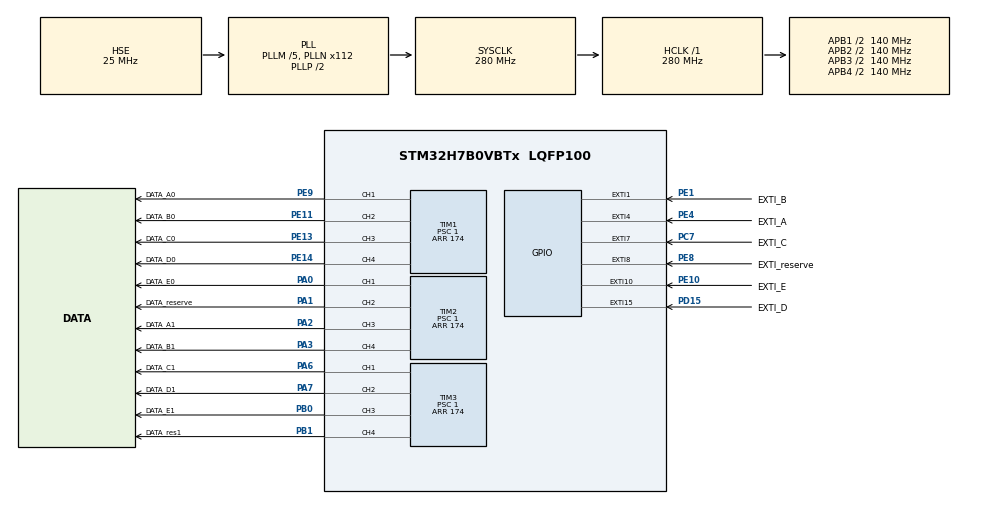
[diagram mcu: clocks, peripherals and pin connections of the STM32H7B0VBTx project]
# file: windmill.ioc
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Dma.Request0=TIM1_CH1
Dma.Request1=TIM1_CH2
Dma.Request10=TIM3_CH3
Dma.Request11=TIM3_CH4
Dma.Request2=TIM1_CH3
Dma.Request3=TIM1_CH4
Dma.Request4=TIM2_CH1
Dma.Request5=TIM2_CH2
Dma.Request6=TIM2_CH3
Dma.Request7=TIM2_CH4
Dma.Request8=TIM3_CH1
Dma.Request9=TIM3_CH2
Dma.TIM1_CH1.0.Direction=DMA_MEMORY_TO_PERIPH
Dma.TIM1_CH1.0.EventEnable=DISABLE
Dma.TIM1_CH1.0.FIFOMode=DMA_FIFOMODE_DISABLE
Dma.TIM1_CH1.0.Instance=DMA1_Stream0
Dma.TIM1_CH1.0.MemDataAlignment=DMA_MDATAALIGN_HALFWORD
Dma.TIM1_CH1.0.MemInc=DMA_MINC_ENABLE
Dma.TIM1_CH1.0.Mode=DMA_NORMAL
Dma.TIM1_CH1.0.PeriphDataAlignment=DMA_PDATAALIGN_HALFWORD
Dma.TIM1_CH1.0.PeriphInc=DMA_PINC_DISABLE
Dma.TIM1_CH1.0.Polarity=HAL_DMAMUX_REQ_GEN_RISING
Dma.TIM1_CH1.0.Priority=DMA_PRIORITY_LOW
Dma.TIM1_CH1.0.RequestNumber=1
Dma.TIM1_CH1.0.SignalID=NONE
Dma.TIM1_CH1.0.SyncEnable=DISABLE
Dma.TIM1_CH1.0.SyncPolarity=HAL_DMAMUX_SYNC_NO_EVENT
Dma.TIM1_CH1.0.SyncRequestNumber=1
Dma.TIM1_CH1.0.SyncSignalID=NONE
Dma.TIM1_CH2.1.Direction=DMA_MEMORY_TO_PERIPH
Dma.TIM1_CH2.1.EventEnable=DISABLE
Dma.TIM1_CH2.1.FIFOMode=DMA_FIFOMODE_DISABLE
Dma.TIM1_CH2.1.Instance=DMA1_Stream1
Dma.TIM1_CH2.1.MemDataAlignment=DMA_MDATAALIGN_HALFWORD
Dma.TIM1_CH2.1.MemInc=DMA_MINC_ENABLE
Dma.TIM1_CH2.1.Mode=DMA_NORMAL
Dma.TIM1_CH2.1.PeriphDataAlignment=DMA_PDATAALIGN_HALFWORD
Dma.TIM1_CH2.1.PeriphInc=DMA_PINC_DISABLE
Dma.TIM1_CH2.1.Polarity=HAL_DMAMUX_REQ_GEN_RISING
Dma.TIM1_CH2.1.Priority=DMA_PRIORITY_LOW
Dma.TIM1_CH2.1.RequestNumber=1
Dma.TIM1_CH2.1.SignalID=NONE
Dma.TIM1_CH2.1.SyncEnable=DISABLE
Dma.TIM1_CH2.1.SyncPolarity=HAL_DMAMUX_SYNC_NO_EVENT
Dma.TIM1_CH2.1.SyncRequestNumber=1
Dma.TIM1_CH2.1.SyncSignalID=NONE
Dma.TIM1_CH3.2.Direction=DMA_MEMORY_TO_PERIPH
Dma.TIM1_CH3.2.EventEnable=DISABLE
Dma.TIM1_CH3.2.FIFOMode=DMA_FIFOMODE_DISABLE
Dma.TIM1_CH3.2.Instance=DMA1_Stream2
Dma.TIM1_CH3.2.MemDataAlignment=DMA_MDATAALIGN_HALFWORD
Dma.TIM1_CH3.2.MemInc=DMA_MINC_ENABLE
Dma.TIM1_CH3.2.Mode=DMA_NORMAL
Dma.TIM1_CH3.2.PeriphDataAlignment=DMA_PDATAALIGN_HALFWORD
Dma.TIM1_CH3.2.PeriphInc=DMA_PINC_DISABLE
Dma.TIM1_CH3.2.Polarity=HAL_DMAMUX_REQ_GEN_RISING
Dma.TIM1_CH3.2.Priority=DMA_PRIORITY_LOW
Dma.TIM1_CH3.2.RequestNumber=1
Dma.TIM1_CH3.2.SignalID=NONE
Dma.TIM1_CH3.2.SyncEnable=DISABLE
Dma.TIM1_CH3.2.SyncPolarity=HAL_DMAMUX_SYNC_NO_EVENT
Dma.TIM1_CH3.2.SyncRequestNumber=1
Dma.TIM1_CH3.2.SyncSignalID=NONE
Dma.TIM1_CH4.3.Direction=DMA_MEMORY_TO_PERIPH
Dma.TIM1_CH4.3.EventEnable=DISABLE
Dma.TIM1_CH4.3.FIFOMode=DMA_FIFOMODE_DISABLE
Dma.TIM1_CH4.3.Instance=DMA1_Stream3
Dma.TIM1_CH4.3.MemDataAlignment=DMA_MDATAALIGN_HALFWORD
Dma.TIM1_CH4.3.MemInc=DMA_MINC_ENABLE
Dma.TIM1_CH4.3.Mode=DMA_NORMAL
Dma.TIM1_CH4.3.PeriphDataAlignment=DMA_PDATAALIGN_HALFWORD
Dma.TIM1_CH4.3.PeriphInc=DMA_PINC_DISABLE
Dma.TIM1_CH4.3.Polarity=HAL_DMAMUX_REQ_GEN_RISING
Dma.TIM1_CH4.3.Priority=DMA_PRIORITY_LOW
Dma.TIM1_CH4.3.RequestNumber=1
Dma.TIM1_CH4.3.SignalID=NONE
Dma.TIM1_CH4.3.SyncEnable=DISABLE
Dma.TIM1_CH4.3.SyncPolarity=HAL_DMAMUX_SYNC_NO_EVENT
Dma.TIM1_CH4.3.SyncRequestNumber=1
Dma.TIM1_CH4.3.SyncSignalID=NONE
Dma.TIM2_CH1.4.Direction=DMA_MEMORY_TO_PERIPH
Dma.TIM2_CH1.4.EventEnable=DISABLE
Dma.TIM2_CH1.4.FIFOMode=DMA_FIFOMODE_DISABLE
Dma.TIM2_CH1.4.Instance=DMA2_Stream4
Dma.TIM2_CH1.4.MemDataAlignment=DMA_MDATAALIGN_HALFWORD
Dma.TIM2_CH1.4.MemInc=DMA_MINC_ENABLE
Dma.TIM2_CH1.4.Mode=DMA_NORMAL
Dma.TIM2_CH1.4.PeriphDataAlignment=DMA_PDATAALIGN_HALFWORD
Dma.TIM2_CH1.4.PeriphInc=DMA_PINC_DISABLE
Dma.TIM2_CH1.4.Polarity=HAL_DMAMUX_REQ_GEN_RISING
Dma.TIM2_CH1.4.Priority=DMA_PRIORITY_LOW
Dma.TIM2_CH1.4.RequestNumber=1
Dma.TIM2_CH1.4.SignalID=NONE
Dma.TIM2_CH1.4.SyncEnable=DISABLE
Dma.TIM2_CH1.4.SyncPolarity=HAL_DMAMUX_SYNC_NO_EVENT
Dma.TIM2_CH1.4.SyncRequestNumber=1
Dma.TIM2_CH1.4.SyncSignalID=NONE
Dma.TIM2_CH2.5.Direction=DMA_MEMORY_TO_PERIPH
Dma.TIM2_CH2.5.EventEnable=DISABLE
Dma.TIM2_CH2.5.FIFOMode=DMA_FIFOMODE_DISABLE
Dma.TIM2_CH2.5.Instance=DMA2_Stream5
Dma.TIM2_CH2.5.MemDataAlignment=DMA_MDATAALIGN_HALFWORD
Dma.TIM2_CH2.5.MemInc=DMA_MINC_ENABLE
Dma.TIM2_CH2.5.Mode=DMA_NORMAL
Dma.TIM2_CH2.5.PeriphDataAlignment=DMA_PDATAALIGN_HALFWORD
Dma.TIM2_CH2.5.PeriphInc=DMA_PINC_DISABLE
Dma.TIM2_CH2.5.Polarity=HAL_DMAMUX_REQ_GEN_RISING
Dma.TIM2_CH2.5.Priority=DMA_PRIORITY_LOW
Dma.TIM2_CH2.5.RequestNumber=1
Dma.TIM2_CH2.5.SignalID=NONE
Dma.TIM2_CH2.5.SyncEnable=DISABLE
Dma.TIM2_CH2.5.SyncPolarity=HAL_DMAMUX_SYNC_NO_EVENT
Dma.TIM2_CH2.5.SyncRequestNumber=1
Dma.TIM2_CH2.5.SyncSignalID=NONE
Dma.TIM2_CH3.6.Direction=DMA_MEMORY_TO_PERIPH
Dma.TIM2_CH3.6.EventEnable=DISABLE
Dma.TIM2_CH3.6.FIFOMode=DMA_FIFOMODE_DISABLE
Dma.TIM2_CH3.6.Instance=DMA2_Stream6
Dma.TIM2_CH3.6.MemDataAlignment=DMA_MDATAALIGN_HALFWORD
Dma.TIM2_CH3.6.MemInc=DMA_MINC_ENABLE
Dma.TIM2_CH3.6.Mode=DMA_NORMAL
Dma.TIM2_CH3.6.PeriphDataAlignment=DMA_PDATAALIGN_HALFWORD
Dma.TIM2_CH3.6.PeriphInc=DMA_PINC_DISABLE
Dma.TIM2_CH3.6.Polarity=HAL_DMAMUX_REQ_GEN_RISING
Dma.TIM2_CH3.6.Priority=DMA_PRIORITY_LOW
Dma.TIM2_CH3.6.RequestNumber=1
Dma.TIM2_CH3.6.SignalID=NONE
Dma.TIM2_CH3.6.SyncEnable=DISABLE
Dma.TIM2_CH3.6.SyncPolarity=HAL_DMAMUX_SYNC_NO_EVENT
Dma.TIM2_CH3.6.SyncRequestNumber=1
Dma.TIM2_CH3.6.SyncSignalID=NONE
Dma.TIM2_CH4.7.Direction=DMA_MEMORY_TO_PERIPH
Dma.TIM2_CH4.7.EventEnable=DISABLE
Dma.TIM2_CH4.7.FIFOMode=DMA_FIFOMODE_DISABLE
Dma.TIM2_CH4.7.Instance=DMA2_Stream7
Dma.TIM2_CH4.7.MemDataAlignment=DMA_MDATAALIGN_HALFWORD
Dma.TIM2_CH4.7.MemInc=DMA_MINC_ENABLE
Dma.TIM2_CH4.7.Mode=DMA_NORMAL
Dma.TIM2_CH4.7.PeriphDataAlignment=DMA_PDATAALIGN_HALFWORD
Dma.TIM2_CH4.7.PeriphInc=DMA_PINC_DISABLE
Dma.TIM2_CH4.7.Polarity=HAL_DMAMUX_REQ_GEN_RISING
Dma.TIM2_CH4.7.Priority=DMA_PRIORITY_LOW
Dma.TIM2_CH4.7.RequestNumber=1
Dma.TIM2_CH4.7.SignalID=NONE
Dma.TIM2_CH4.7.SyncEnable=DISABLE
Dma.TIM2_CH4.7.SyncPolarity=HAL_DMAMUX_SYNC_NO_EVENT
Dma.TIM2_CH4.7.SyncRequestNumber=1
Dma.TIM2_CH4.7.SyncSignalID=NONE
Dma.TIM3_CH1.8.Direction=DMA_MEMORY_TO_PERIPH
Dma.TIM3_CH1.8.EventEnable=DISABLE
Dma.TIM3_CH1.8.FIFOMode=DMA_FIFOMODE_DISABLE
Dma.TIM3_CH1.8.Instance=DMA2_Stream0
Dma.TIM3_CH1.8.MemDataAlignment=DMA_MDATAALIGN_HALFWORD
Dma.TIM3_CH1.8.MemInc=DMA_MINC_ENABLE
Dma.TIM3_CH1.8.Mode=DMA_NORMAL
Dma.TIM3_CH1.8.PeriphDataAlignment=DMA_PDATAALIGN_HALFWORD
Dma.TIM3_CH1.8.PeriphInc=DMA_PINC_DISABLE
Dma.TIM3_CH1.8.Polarity=HAL_DMAMUX_REQ_GEN_RISING
Dma.TIM3_CH1.8.Priority=DMA_PRIORITY_LOW
Dma.TIM3_CH1.8.RequestNumber=1
Dma.TIM3_CH1.8.SignalID=NONE
Dma.TIM3_CH1.8.SyncEnable=DISABLE
Dma.TIM3_CH1.8.SyncPolarity=HAL_DMAMUX_SYNC_NO_EVENT
Dma.TIM3_CH1.8.SyncRequestNumber=1
Dma.TIM3_CH1.8.SyncSignalID=NONE
Dma.TIM3_CH2.9.Direction=DMA_MEMORY_TO_PERIPH
Dma.TIM3_CH2.9.EventEnable=DISABLE
Dma.TIM3_CH2.9.FIFOMode=DMA_FIFOMODE_DISABLE
Dma.TIM3_CH2.9.Instance=DMA2_Stream1
Dma.TIM3_CH2.9.MemDataAlignment=DMA_MDATAALIGN_HALFWORD
Dma.TIM3_CH2.9.MemInc=DMA_MINC_ENABLE
Dma.TIM3_CH2.9.Mode=DMA_NORMAL
Dma.TIM3_CH2.9.PeriphDataAlignment=DMA_PDATAALIGN_HALFWORD
Dma.TIM3_CH2.9.PeriphInc=DMA_PINC_DISABLE
Dma.TIM3_CH2.9.Polarity=HAL_DMAMUX_REQ_GEN_RISING
Dma.TIM3_CH2.9.Priority=DMA_PRIORITY_LOW
Dma.TIM3_CH2.9.RequestNumber=1
Dma.TIM3_CH2.9.SignalID=NONE
Dma.TIM3_CH2.9.SyncEnable=DISABLE
Dma.TIM3_CH2.9.SyncPolarity=HAL_DMAMUX_SYNC_NO_EVENT
Dma.TIM3_CH2.9.SyncRequestNumber=1
Dma.TIM3_CH2.9.SyncSignalID=NONE
Dma.TIM3_CH3.10.Direction=DMA_MEMORY_TO_PERIPH
Dma.TIM3_CH3.10.EventEnable=DISABLE
Dma.TIM3_CH3.10.FIFOMode=DMA_FIFOMODE_DISABLE
Dma.TIM3_CH3.10.Instance=DMA2_Stream2
Dma.TIM3_CH3.10.MemDataAlignment=DMA_MDATAALIGN_HALFWORD
Dma.TIM3_CH3.10.MemInc=DMA_MINC_ENABLE
Dma.TIM3_CH3.10.Mode=DMA_NORMAL
Dma.TIM3_CH3.10.PeriphDataAlignment=DMA_PDATAALIGN_HALFWORD
Dma.TIM3_CH3.10.PeriphInc=DMA_PINC_DISABLE
Dma.TIM3_CH3.10.Polarity=HAL_DMAMUX_REQ_GEN_RISING
Dma.TIM3_CH3.10.Priority=DMA_PRIORITY_LOW
Dma.TIM3_CH3.10.RequestNumber=1
Dma.TIM3_CH3.10.SignalID=NONE
Dma.TIM3_CH3.10.SyncEnable=DISABLE
Dma.TIM3_CH3.10.SyncPolarity=HAL_DMAMUX_SYNC_NO_EVENT
Dma.TIM3_CH3.10.SyncRequestNumber=1
Dma.TIM3_CH3.10.SyncSignalID=NONE
Dma.TIM3_CH4.11.Direction=DMA_MEMORY_TO_PERIPH
Dma.TIM3_CH4.11.EventEnable=DISABLE
Dma.TIM3_CH4.11.FIFOMode=DMA_FIFOMODE_DISABLE
Dma.TIM3_CH4.11.Instance=DMA2_Stream3
Dma.TIM3_CH4.11.MemDataAlignment=DMA_MDATAALIGN_HALFWORD
Dma.TIM3_CH4.11.MemInc=DMA_MINC_ENABLE
Dma.TIM3_CH4.11.Mode=DMA_NORMAL
Dma.TIM3_CH4.11.PeriphDataAlignment=DMA_PDATAALIGN_HALFWORD
Dma.TIM3_CH4.11.PeriphInc=DMA_PINC_DISABLE
Dma.TIM3_CH4.11.Polarity=HAL_DMAMUX_REQ_GEN_RISING
Dma.TIM3_CH4.11.Priority=DMA_PRIORITY_LOW
Dma.TIM3_CH4.11.RequestNumber=1
Dma.TIM3_CH4.11.SignalID=NONE
Dma.TIM3_CH4.11.SyncEnable=DISABLE
Dma.TIM3_CH4.11.SyncPolarity=HAL_DMAMUX_SYNC_NO_EVENT
Dma.TIM3_CH4.11.SyncRequestNumber=1
Dma.TIM3_CH4.11.SyncSignalID=NONE
Mcu.Family=STM32H7
Mcu.Name=STM32H7B0VBTx
Mcu.Package=LQFP100
NVIC.DMA1_Stream0_IRQn=true\:0\:0\:true\:false\:true\:false\:true\:true
NVIC.DMA1_Stream1_IRQn=true\:0\:0\:true\:false\:true\:false\:true\:true
NVIC.DMA1_Stream2_IRQn=true\:0\:0\:true\:false\:true\:false\:true\:true
NVIC.DMA1_Stream3_IRQn=true\:0\:0\:true\:false\:true\:false\:true\:true
NVIC.DMA2_Stream0_IRQn=true\:0\:0\:false\:false\:true\:false\:true\:true
NVIC.DMA2_Stream1_IRQn=true\:0\:0\:false\:false\:true\:false\:true\:true
NVIC.DMA2_Stream2_IRQn=true\:0\:0\:false\:false\:true\:false\:true\:true
NVIC.DMA2_Stream3_IRQn=true\:0\:0\:false\:false\:true\:false\:true\:true
NVIC.DMA2_Stream4_IRQn=true\:0\:0\:false\:false\:true\:false\:true\:true
NVIC.DMA2_Stream5_IRQn=true\:0\:0\:false\:false\:true\:false\:true\:true
NVIC.DMA2_Stream6_IRQn=true\:0\:0\:false\:false\:true\:false\:true\:true
NVIC.DMA2_Stream7_IRQn=true\:0\:0\:false\:false\:true\:false\:true\:true
NVIC.EXTI15_10_IRQn=true\:0\:0\:false\:false\:true\:true\:true\:true
NVIC.EXTI1_IRQn=true\:0\:0\:false\:false\:true\:true\:true\:true
NVIC.EXTI4_IRQn=true\:0\:0\:false\:false\:true\:true\:true\:true
NVIC.EXTI9_5_IRQn=true\:0\:0\:false\:false\:true\:true\:true\:true
NVIC.PriorityGroup=NVIC_PRIORITYGROUP_4
PA0.GPIO_Label=DATA_E0
PA0.GPIO_Speed=GPIO_SPEED_FREQ_VERY_HIGH
PA0.Signal=S_TIM2_CH1_ETR
PA1.GPIO_Label=DATA_reserve
PA1.GPIO_Speed=GPIO_SPEED_FREQ_VERY_HIGH
PA1.Signal=S_TIM2_CH2
PA13.Mode=Serial_Wire
PA13.Signal=DEBUG_JTMS-SWDIO
PA14.Mode=Serial_Wire
PA14.Signal=DEBUG_JTCK-SWCLK
PA2.GPIO_Label=DATA_A1
PA2.GPIO_Speed=GPIO_SPEED_FREQ_VERY_HIGH
PA2.Signal=S_TIM2_CH3
PA3.GPIO_Label=DATA_B1
PA3.GPIO_Speed=GPIO_SPEED_FREQ_VERY_HIGH
PA3.Signal=S_TIM2_CH4
PA6.GPIO_Label=DATA_C1
PA6.GPIO_Speed=GPIO_SPEED_FREQ_VERY_HIGH
PA6.Signal=S_TIM3_CH1
PA7.GPIO_Label=DATA_D1
PA7.GPIO_Speed=GPIO_SPEED_FREQ_VERY_HIGH
PA7.Signal=S_TIM3_CH2
PB0.GPIO_Label=DATA_E1
PB0.GPIO_Speed=GPIO_SPEED_FREQ_VERY_HIGH
PB0.Signal=S_TIM3_CH3
PB1.GPIO_Label=DATA_res1
PB1.GPIO_Speed=GPIO_SPEED_FREQ_VERY_HIGH
PB1.Signal=S_TIM3_CH4
PC7.GPIO_Label=EXTI_C
PC7.Signal=GPXTI7
PD15.GPIO_Label=EXTI_D
PD15.Signal=GPXTI15
PE1.GPIO_Label=EXTI_B
PE1.Signal=GPXTI1
PE10.GPIO_Label=EXTI_E
PE10.Signal=GPXTI10
PE11.GPIO_Label=DATA_B0
PE11.GPIO_Speed=GPIO_SPEED_FREQ_VERY_HIGH
PE11.Signal=S_TIM1_CH2
PE13.GPIO_Label=DATA_C0
PE13.GPIO_Speed=GPIO_SPEED_FREQ_VERY_HIGH
PE13.Signal=S_TIM1_CH3
PE14.GPIO_Label=DATA_D0
PE14.GPIO_Speed=GPIO_SPEED_FREQ_VERY_HIGH
PE14.Signal=S_TIM1_CH4
PE4.GPIO_Label=EXTI_A
PE4.Signal=GPXTI4
PE8.GPIO_Label=EXTI_reserve
PE8.GPIO_PuPd=GPIO_NOPULL
PE8.Signal=GPXTI8
PE9.GPIO_Label=DATA_A0
PE9.GPIO_Speed=GPIO_SPEED_FREQ_VERY_HIGH
PE9.Signal=S_TIM1_CH1
PH0-OSC_IN.Mode=HSE-External-Oscillator
PH0-OSC_IN.Signal=RCC_OSC_IN
PH1-OSC_OUT.Mode=HSE-External-Oscillator
PH1-OSC_OUT.Signal=RCC_OSC_OUT
ProjectManager.HeapSize=0x200
ProjectManager.StackSize=0x400
ProjectManager.TargetToolchain=STM32CubeIDE
RCC.ADCFreq_Value=280000000
RCC.APB1Freq_Value=140000000
RCC.APB2Freq_Value=140000000
RCC.APB3Freq_Value=140000000
RCC.APB4Freq_Value=140000000
RCC.CDPPRE=RCC_APB3_DIV2
RCC.CDPPRE1=RCC_APB1_DIV2
RCC.CDPPRE2=RCC_APB2_DIV2
RCC.CortexFreq_Value=280000000
RCC.DIVM1=5
RCC.DIVM2=5
RCC.DIVM3=5
RCC.DIVN1=112
RCC.DIVN2=112
RCC.DIVN3=112
RCC.HCLKFreq_Value=280000000
RCC.HSE_VALUE=25000000
RCC.PLL2FRACN=0
RCC.PLL3FRACN=0
RCC.PLLFRACN=0
RCC.PLLSourceVirtual=RCC_PLLSOURCE_HSE
RCC.SRDPPRE=RCC_APB4_DIV2
RCC.SYSCLKFreq_VALUE=280000000
RCC.SYSCLKSource=RCC_SYSCLKSOURCE_PLLCLK
RCC.USBFreq_Value=280000000
SH.S_TIM1_CH1.0=TIM1_CH1,PWM Generation1 CH1
SH.S_TIM1_CH2.0=TIM1_CH2,PWM Generation2 CH2
SH.S_TIM1_CH3.0=TIM1_CH3,PWM Generation3 CH3
SH.S_TIM1_CH4.0=TIM1_CH4,PWM Generation4 CH4
SH.S_TIM2_CH1_ETR.0=TIM2_CH1,PWM Generation1 CH1
SH.S_TIM2_CH2.0=TIM2_CH2,PWM Generation2 CH2
SH.S_TIM2_CH3.0=TIM2_CH3,PWM Generation3 CH3
SH.S_TIM2_CH4.0=TIM2_CH4,PWM Generation4 CH4
SH.S_TIM3_CH1.0=TIM3_CH1,PWM Generation1 CH1
SH.S_TIM3_CH2.0=TIM3_CH2,PWM Generation2 CH2
SH.S_TIM3_CH3.0=TIM3_CH3,PWM Generation3 CH3
SH.S_TIM3_CH4.0=TIM3_CH4,PWM Generation4 CH4
TIM1.AutoReloadPreload=TIM_AUTORELOAD_PRELOAD_ENABLE
TIM1.Channel-PWM\ Generation1\ CH1=TIM_CHANNEL_1
TIM1.Channel-PWM\ Generation2\ CH2=TIM_CHANNEL_2
TIM1.Channel-PWM\ Generation3\ CH3=TIM_CHANNEL_3
TIM1.Channel-PWM\ Generation4\ CH4=TIM_CHANNEL_4
TIM1.OCMode_PWM-PWM\ Generation1\ CH1=TIM_OCMODE_PWM1
TIM1.OCMode_PWM-PWM\ Generation2\ CH2=TIM_OCMODE_PWM1
TIM1.OCMode_PWM-PWM\ Generation3\ CH3=TIM_OCMODE_PWM1
TIM1.OCMode_PWM-PWM\ Generation4\ CH4=TIM_OCMODE_PWM1
TIM1.OCPolarity_1=TIM_OCPOLARITY_HIGH
TIM1.OCPolarity_2=TIM_OCPOLARITY_HIGH
TIM1.OCPolarity_3=TIM_OCPOLARITY_HIGH
TIM1.OCPolarity_4=TIM_OCPOLARITY_HIGH
TIM1.Period=174
TIM1.Prescaler=1
TIM2.AutoReloadPreload=TIM_AUTORELOAD_PRELOAD_ENABLE
TIM2.Channel-PWM\ Generation1\ CH1=TIM_CHANNEL_1
TIM2.Channel-PWM\ Generation2\ CH2=TIM_CHANNEL_2
TIM2.Channel-PWM\ Generation3\ CH3=TIM_CHANNEL_3
TIM2.Channel-PWM\ Generation4\ CH4=TIM_CHANNEL_4
TIM2.OCMode_PWM-PWM\ Generation1\ CH1=TIM_OCMODE_PWM1
TIM2.OCMode_PWM-PWM\ Generation2\ CH2=TIM_OCMODE_PWM1
TIM2.OCMode_PWM-PWM\ Generation3\ CH3=TIM_OCMODE_PWM1
TIM2.OCMode_PWM-PWM\ Generation4\ CH4=TIM_OCMODE_PWM1
TIM2.OCPolarity_1=TIM_OCPOLARITY_HIGH
TIM2.OCPolarity_2=TIM_OCPOLARITY_HIGH
TIM2.OCPolarity_3=TIM_OCPOLARITY_HIGH
TIM2.OCPolarity_4=TIM_OCPOLARITY_HIGH
TIM2.Period=174
TIM2.Prescaler=1
TIM3.AutoReloadPreload=TIM_AUTORELOAD_PRELOAD_ENABLE
TIM3.Channel-PWM\ Generation1\ CH1=TIM_CHANNEL_1
TIM3.Channel-PWM\ Generation2\ CH2=TIM_CHANNEL_2
TIM3.Channel-PWM\ Generation3\ CH3=TIM_CHANNEL_3
TIM3.Channel-PWM\ Generation4\ CH4=TIM_CHANNEL_4
TIM3.OCMode_PWM-PWM\ Generation1\ CH1=TIM_OCMODE_PWM1
TIM3.OCMode_PWM-PWM\ Generation2\ CH2=TIM_OCMODE_PWM1
TIM3.OCMode_PWM-PWM\ Generation3\ CH3=TIM_OCMODE_PWM1
TIM3.OCMode_PWM-PWM\ Generation4\ CH4=TIM_OCMODE_PWM1
TIM3.OCPolarity_1=TIM_OCPOLARITY_HIGH
TIM3.OCPolarity_2=TIM_OCPOLARITY_HIGH
TIM3.OCPolarity_3=TIM_OCPOLARITY_HIGH
TIM3.OCPolarity_4=TIM_OCPOLARITY_HIGH
TIM3.Period=174
TIM3.Prescaler=1
board=custom

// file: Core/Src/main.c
/* USER CODE BEGIN Header */
/**
  ******************************************************************************
  * @file           : main.c
  * @brief          : Main program body
  ******************************************************************************
  * @attention
  *
  * Copyright (c) 2022 STMicroelectronics.
  * All rights reserved.
  *
  * This software is licensed under terms that can be found in the LICENSE file
  * in the root directory of this software component.
  * If no LICENSE file comes with this software, it is provided AS-IS.
  *
  ******************************************************************************
  */
/* USER CODE END Header */
#include "main.h"
#include "dma.h"
#include "tim.h"
#include "gpio.h"

/* USER CODE BEGIN Includes */
#include "ws281b.h"
#include "exti_task.h"
#include "windmill.h"
#include "ws281b2.h"
/* USER CODE END Includes */

/* USER CODE BEGIN PD */

//#define ORANGE  0x7f,0x20,0x00
//#define CYAN    0x00,0x60,0x43
/* USER CODE END PD */

/* USER CODE BEGIN PV */
 uint32_t color = ORANGE ;
volatile  uint16_t mode = 1;
/* USER CODE END PV */

void SystemClock_Config(void);

int main(void)
{

  /* MCU Configuration--------------------------------------------------------*/

  /* Reset of all peripherals, Initializes the Flash interface and the Systick. */
  HAL_Init();

  /* Configure the system clock */
  SystemClock_Config();

  /* Initialize all configured peripherals */
  MX_GPIO_Init();
  MX_DMA_Init();
  MX_TIM2_Init();
  MX_TIM1_Init();
  MX_TIM3_Init();
  /* USER CODE BEGIN 2 */
  windmill_init();
    /** Uncomment to debug */
    /*{
        /// Init the port
        WS2_control_init();

        /// Set start color
        const struct WS2_Color color1 = {32, 172, 0};
        __attribute__((unused)) const struct WS2_Color color2 = {96, 0, 67};
        const struct WS2_Color colorOff = {0, 0, 0};
        WS2_control_color(color1, colorOff);

        /// Close all blade
        for (int i = 0; i < Windmill_Blade_COUNT; i++) {
            WS2_control_send((int)i);
        }
        HAL_Delay(WINDMILL_BLADE_TIMEOUT / WINDMILL_CONTROL_GRANULARITY);

        /// Open blade
        for (int i = 0; i < Windmill_Blade_COUNT; i++) {
            if (i == Windmill_Blade_B) {
                WS2_set_arrows((int)i, true);
                WS2_set_surrounding((int)i, true);
                WS2_control_send((int)i);
            }
        }
        HAL_Delay(WINDMILL_BLADE_TIMEOUT / WINDMILL_CONTROL_GRANULARITY);
    }*/
  /* USER CODE END 2 */

  /* Infinite loop */
  /* USER CODE BEGIN WHILE */
  while (1)
  {
      windmill_process_event();
    /* USER CODE END WHILE */

  }
}

void SystemClock_Config(void)
{
  RCC_OscInitTypeDef RCC_OscInitStruct = {0};
  RCC_ClkInitTypeDef RCC_ClkInitStruct = {0};

  /*AXI clock gating */
  RCC->CKGAENR = 0xFFFFFFFF;

  /** Supply configuration update enable
  */
  HAL_PWREx_ConfigSupply(PWR_LDO_SUPPLY);

  /** Configure the main internal regulator output voltage
  */
  __HAL_PWR_VOLTAGESCALING_CONFIG(PWR_REGULATOR_VOLTAGE_SCALE0);

  while(!__HAL_PWR_GET_FLAG(PWR_FLAG_VOSRDY)) {}

  /** Initializes the RCC Oscillators according to the specified parameters
  * in the RCC_OscInitTypeDef structure.
  */
  RCC_OscInitStruct.OscillatorType = RCC_OSCILLATORTYPE_HSE;
  RCC_OscInitStruct.HSEState = RCC_HSE_ON;
  RCC_OscInitStruct.PLL.PLLState = RCC_PLL_ON;
  RCC_OscInitStruct.PLL.PLLSource = RCC_PLLSOURCE_HSE;
  RCC_OscInitStruct.PLL.PLLM = 5;
  RCC_OscInitStruct.PLL.PLLN = 112;
  RCC_OscInitStruct.PLL.PLLP = 2;
  RCC_OscInitStruct.PLL.PLLQ = 2;
  RCC_OscInitStruct.PLL.PLLR = 2;
  RCC_OscInitStruct.PLL.PLLRGE = RCC_PLL1VCIRANGE_2;
  RCC_OscInitStruct.PLL.PLLVCOSEL = RCC_PLL1VCOWIDE;
  RCC_OscInitStruct.PLL.PLLFRACN = 0;
  if (HAL_RCC_OscConfig(&RCC_OscInitStruct) != HAL_OK)
  {
    Error_Handler();
  }

  /** Initializes the CPU, AHB and APB buses clocks
  */
  RCC_ClkInitStruct.ClockType = RCC_CLOCKTYPE_HCLK|RCC_CLOCKTYPE_SYSCLK
                              |RCC_CLOCKTYPE_PCLK1|RCC_CLOCKTYPE_PCLK2
                              |RCC_CLOCKTYPE_D3PCLK1|RCC_CLOCKTYPE_D1PCLK1;
  RCC_ClkInitStruct.SYSCLKSource = RCC_SYSCLKSOURCE_PLLCLK;
  RCC_ClkInitStruct.SYSCLKDivider = RCC_SYSCLK_DIV1;
  RCC_ClkInitStruct.AHBCLKDivider = RCC_HCLK_DIV1;
  RCC_ClkInitStruct.APB3CLKDivider = RCC_APB3_DIV2;
  RCC_ClkInitStruct.APB1CLKDivider = RCC_APB1_DIV2;
  RCC_ClkInitStruct.APB2CLKDivider = RCC_APB2_DIV2;
  RCC_ClkInitStruct.APB4CLKDivider = RCC_APB4_DIV2;

  if (HAL_RCC_ClockConfig(&RCC_ClkInitStruct, FLASH_LATENCY_7) != HAL_OK)
  {
    Error_Handler();
  }
}

/* USER CODE BEGIN 4 */
void HAL_GPIO_EXTI_Callback(uint16_t GPIO_Pin)
{
	switch( GPIO_Pin)
	{
		case EXTI_A_Pin :
		{
			EXTI_A_Task();
			break;
		}
		case EXTI_B_Pin :
		{
			EXTI_B_Task();
			break ;
		}
		case EXTI_C_Pin :
		{
			EXTI_C_Task();
			break ;
		}
		case EXTI_D_Pin :
		{
			EXTI_D_Task();
			break ;
		}
		case EXTI_E_Pin :
		{
			EXTI_E_Task();
			break ;
		}
		case EXTI_reserve_Pin :
		{
			EXTI_reserve_Task();
			break ;
		}
default:
        {
            break;
        }
	}

}

/* USER CODE END 4 */

void Error_Handler(void)
{
  __disable_irq();
  while (1)
  {
  }
}
